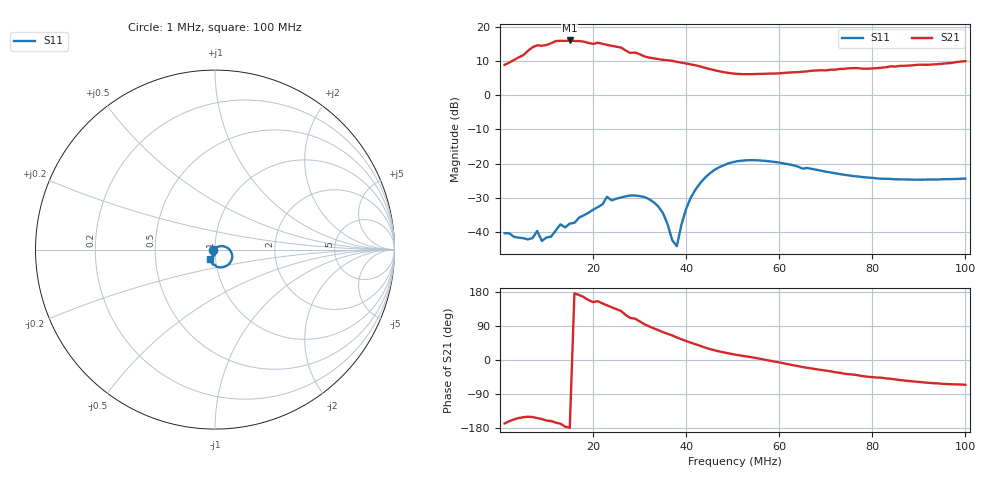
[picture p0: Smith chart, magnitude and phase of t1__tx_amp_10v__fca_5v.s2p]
# HZ S RI R 50
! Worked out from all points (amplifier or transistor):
!   100 points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, 1 MHz to 100 MHz, reference 50 ohm
!   highest |S21| = 16.1 dB at 15 MHz (marker M1)
!   |S21| within 3 dB of that: 6.041 MHz to 27.08 MHz (21.04 MHz wide, 127 % of centre)
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1000001  -0.00951 0.00029  -2.722 -0.6076  0 0  0 0
5000001  -0.00782 -0.00193  -3.387 -1.868  0 0  0 0
7000001  -0.00719 -0.00367  -4.394 -2.486  0 0  0 0
1.1e7  -0.00482 -0.00699  -5.477 -1.874  0 0  0 0
1.3e7  0.00137 -0.0127  -6.152 -1.294  0 0  0 0
1.4e7  -0.000165 -0.0116  -6.235 -0.4471  0 0  0 0
1.5e7  -0.00403 -0.0125  -6.355 -0.1203  0 0  0 0
1.8e7  -0.00311 -0.0171  -5.929 1.464  0 0  0 0
2e7  -0.00277 -0.0208  -5.034 2.583  0 0  0 0
2.1e7  -0.0031 -0.0227  -5.343 2.47  0 0  0 0
2.6e7  -0.00665 -0.0311  -3.191 3.866  0 0  0 0
2.8e7  -0.00994 -0.0325  -1.48 3.901  0 0  0 0
2.9e7  -0.0117 -0.0319  -1.387 3.999  0 0  0 0
3.1e7  -0.015 -0.0286  -0.3002 3.707  0 0  0 0
3.4e7  -0.0163 -0.017  0.6582 3.326  0 0  0 0
3.8e7  -0.00162 0.00593  1.568 2.654  0 0  0 0
4.1e7  0.0256 0.0185  1.98 2.029  0 0  0 0
4.6e7  0.0797 0.00138  2.103 1.023  0 0  0 0
5.1e7  0.0942 -0.0527  2 0.4744  0 0  0 0
6.7e7  -0.0105 -0.0827  2.116 -0.8743  0 0  0 0
8.4e7  -0.0263 -0.0533  1.72 -2.021  0 0  0 0
1e8  -0.0261 -0.0541  1.317 -2.869  0 0  0 0
